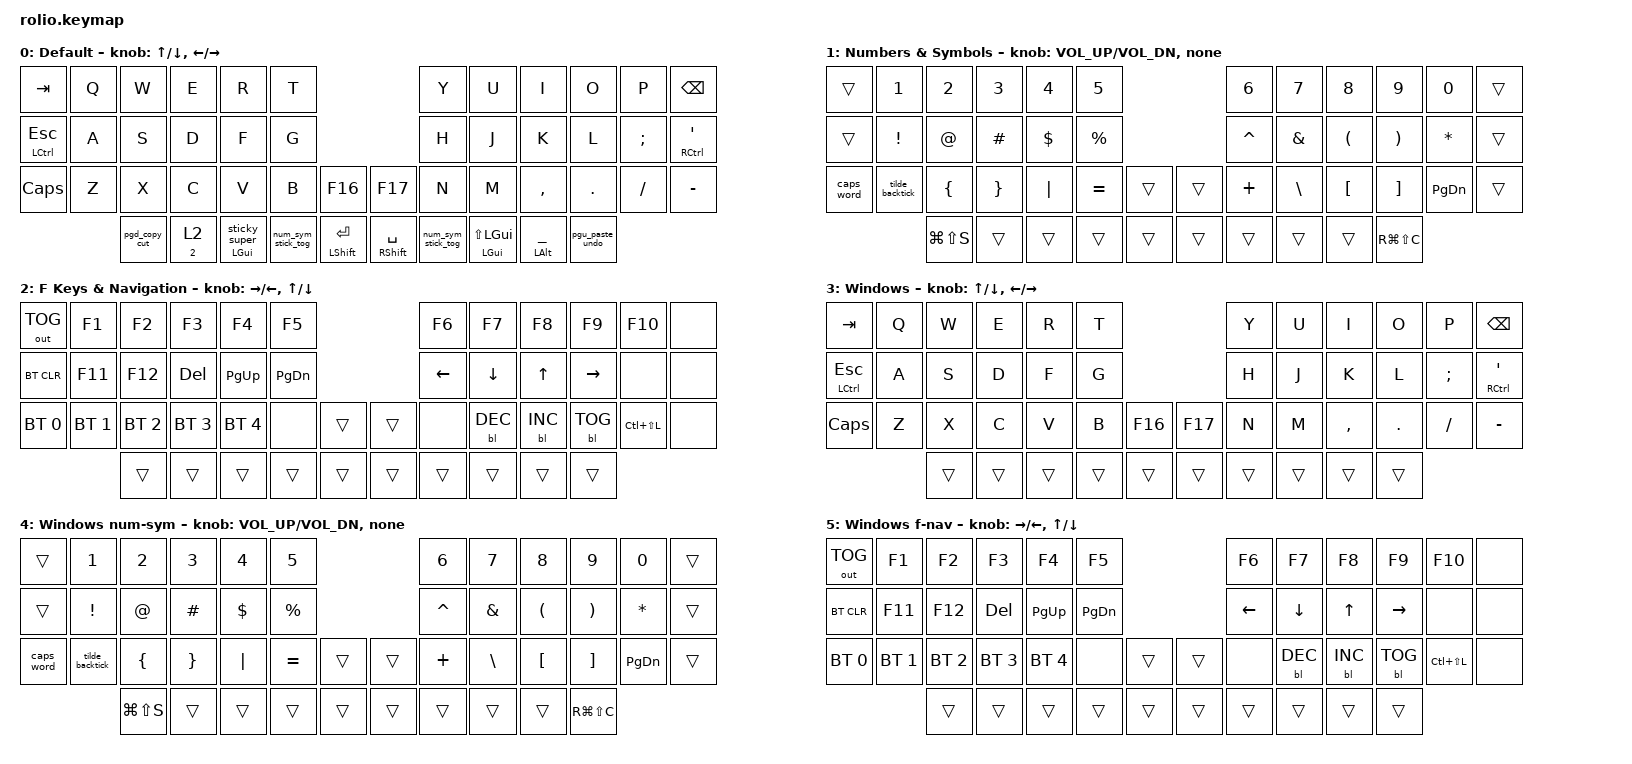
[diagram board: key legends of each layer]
/*
 * Copyright (c) 2020 The ZMK Contributors
 *
 * SPDX-License-Identifier: MIT
 */

#include <behaviors.dtsi>
#include <dt-bindings/zmk/backlight.h>
#include <dt-bindings/zmk/bt.h>
#include <dt-bindings/zmk/keys.h>
#include <dt-bindings/zmk/outputs.h>

// #define HOST_OS 1  // set to 1 for Linux, default is 0 (Windows)
// #include helper.h

#define DEFAULT   0
#define NUM_SYM   1
#define F_NAV     2

// ZMK_UNICODE_SINGLE(em_dash, N2, N0, N1, N4)
// ZMK_UNICODE_SINGLE(en_dash, N2, N0, N1, N3)

/ {
    conditional_layers {
        compatible = "zmk,conditional-layers";

        win-layers {
            if-layers = <3>;
            then-layer = <4>;
        };

        win_nav_f {
            if-layers = <3 4>;
            then-layer = <5>;
        };
    };

    behaviors {
        num_sym_hold_tap: num_sym_hold_tap {
            compatible = "zmk,behavior-hold-tap";
            label = "NUM_SYM_HOLD_TAP";
            bindings = <&tap_layer_num>, <&tap_layer_num>;

            #binding-cells = <2>;
            tapping-term-ms = <200>;
        };

        fnav_hold_tap: fnav_hold_tap {
            compatible = "zmk,behavior-hold-tap";
            label = "FNAV_HOLD_TAP";
            bindings = <&tap_fnav_layer>, <&tap_fnav_layer>;

            #binding-cells = <2>;
            tapping-term-ms = <200>;
        };

        tilde_backtick: tilde_backtick {
            compatible = "zmk,behavior-mod-morph";
            label = "TILDE_BACKTICK";
            bindings = <&kp TILDE>, <&kp GRAVE>;

            #binding-cells = <0>;
            mods = <(MOD_LSFT|MOD_RSFT)>;
        };

        lsft_super: lsft_super {
            compatible = "zmk,behavior-hold-tap";
            label = "LSFT_SUPER";
            bindings = <&kp>, <&l_shift_super>;

            #binding-cells = <2>;
            tapping-term-ms = <200>;
        };

        rsft_super: rsft_super {
            compatible = "zmk,behavior-hold-tap";
            label = "RSFT_SUPER";
            bindings = <&kp>, <&r_shift_super>;

            #binding-cells = <2>;
            tapping-term-ms = <200>;
        };

        l_super_sft_ctrl: l_super_sft_ctrl {
            compatible = "zmk,behavior-hold-tap";
            label = "L_SUPER_SFT_CTRL";
            bindings = <&l_sup_sft_ctr>, <&kp>;

            #binding-cells = <2>;
            tapping-term-ms = <200>;
        };

        r_super_sft_ctrl: r_super_sft_ctrl {
            compatible = "zmk,behavior-hold-tap";
            label = "R_SUPER_SFT_CTRL";
            bindings = <&r_sup_sft_ctr>, <&kp>;

            #binding-cells = <2>;
            tapping-term-ms = <200>;
        };

        layer_key: layer_key {
            compatible = "zmk,behavior-hold-tap";
            label = "LAYER_KEY";
            bindings = <&lt>, <&tog>;

            #binding-cells = <2>;
            tapping-term-ms = <200>;
        };

        super_sup: super_sup {
            compatible = "zmk,behavior-tap-dance";
            label = "SUPER_SUP";
            #binding-cells = <0>;
            bindings = <&sk LGUI>, <&sk LS(LGUI)>, <&sk LS(LC(LGUI))>;
        };

        pgd_copy_cut: pgd_copy_cut {
            compatible = "zmk,behavior-tap-dance";
            label = "PGD_COPY_CUT";
            #binding-cells = <0>;
            bindings = <&kp PG_DN>, <&kp LC(C)>, <&kp LC(X)>;
        };

        pgu_paste_undo: pgu_paste_undo {
            compatible = "zmk,behavior-tap-dance";
            label = "PGU_PASTE_UNDO";
            #binding-cells = <0>;
            bindings = <&kp PG_UP>, <&kp LC(V)>, <&kp LC(Z)>;
        };

        num_sym_stick_tog: num_sym_stick_tog {
            compatible = "zmk,behavior-tap-dance";
            label = "NUM_SYM_STICK_TOG";
            #binding-cells = <0>;
            bindings = <&sl 1>, <&tog 1>;
        };

        fnav_stick_tog: fnav_stick_tog {
            compatible = "zmk,behavior-tap-dance";
            label = "FNAV_STICK_TOG";
            #binding-cells = <0>;
            bindings = <&sl 2>, <&tog 2>;
        };

        final_super: final_super {
            compatible = "zmk,behavior-hold-tap";
            label = "FINAL_SUPER";
            bindings = <&kp>, <&sticky_super>;

            #binding-cells = <2>;
            tapping-term-ms = <200>;
        };
    };

    macros {
        tap_layer_num: tap_layer_num {
            compatible = "zmk,behavior-macro";
            #binding-cells = <0>;
            bindings = <&tog 1>;
            label = "TAP_LAYER_NUM";
        };

        tap_fnav_layer: tap_fnav_layer {
            compatible = "zmk,behavior-macro";
            #binding-cells = <0>;
            bindings = <&tog 2>;
            label = "TAP_FNAV_LAYER";
        };

        l_shift_super: shift_super {
            compatible = "zmk,behavior-macro";
            #binding-cells = <0>;
            bindings = <&sk LEFT_SHIFT &sk LGUI>;
            label = "SHIFT_SUPER";
        };

        r_shift_super: r_shift_super {
            compatible = "zmk,behavior-macro";
            #binding-cells = <0>;
            bindings = <&sk RIGHT_SHIFT &sk RGUI>;
            label = "R_SHIFT_SUPER";
        };

        l_sup_sft_ctr: sup_sft_ctr {
            compatible = "zmk,behavior-macro";
            #binding-cells = <0>;
            bindings = <&sk LGUI &sk LSHIFT &kp LEFT_CONTROL>;
            label = "SUP_SFT_CTR";
        };

        r_sup_sft_ctr: r_sup_sft_ctr {
            compatible = "zmk,behavior-macro";
            #binding-cells = <0>;
            bindings = <&sk RGUI &sk RIGHT_SHIFT &sk RIGHT_CONTROL>;
            label = "R_SUP_SFT_CTR";
        };

        sticky_super: sticky_super {
            compatible = "zmk,behavior-macro";
            #binding-cells = <0>;
            bindings = <&sl 1 &sk LGUI>;
            label = "STICKY_SUPER";
        };
    };

    combos {
        compatible = "zmk,combos";

        Backtick {
            bindings = <&kp GRAVE>;
            key-positions = <24 25>;
        };
    };

    keymap {
        compatible = "zmk,keymap";

        default {
            label = "Default";
            sensor-bindings = <&inc_dec_kp UP DOWN &inc_dec_kp LEFT RIGHT>;
            bindings = <
&kp TAB                  &kp Q  &kp W          &kp E           &kp R                &kp T                                                   &kp Y               &kp U              &kp I                    &kp O            &kp P     &kp BACKSPACE
&mt LEFT_CONTROL ESCAPE  &kp A  &kp S          &kp D           &kp F                &kp G                                                   &kp H               &kp J              &kp K                    &kp L            &kp SEMI  &mt RIGHT_CONTROL SQT
&kp CAPS                 &kp Z  &kp X          &kp C           &kp V                &kp B               &kp F16           &kp F17           &kp N               &kp M              &kp COMMA                &kp DOT          &kp FSLH  &kp MINUS
                                &pgd_copy_cut  &layer_key 2 2  &final_super LGUI 0  &num_sym_stick_tog  &mt LSHIFT ENTER  &mt RSHIFT SPACE  &num_sym_stick_tog  &mt LGUI LS(LGUI)  &mt LEFT_ALT UNDERSCORE  &pgu_paste_undo
            >;
        };

        num_sym {
            label = "Numbers & Symbols";
            sensor-bindings = <&inc_dec_kp C_VOL_UP C_VOL_DN>, <&none>;

            bindings = <
&trans      &kp NUMBER_1     &kp NUMBER_2    &kp NUMBER_3     &kp NUMBER_4  &kp NUMBER_5                  &kp NUMBER_6  &kp NUMBER_7   &kp NUMBER_8          &kp NUMBER_9           &kp NUMBER_0  &trans
&trans      &kp EXCLAMATION  &kp AT_SIGN     &kp HASH         &kp DOLLAR    &kp PERCENT                   &kp CARET     &kp AMPERSAND  &kp LEFT_PARENTHESIS  &kp RIGHT_PARENTHESIS  &kp ASTERISK  &trans
&caps_word  &tilde_backtick  &kp LEFT_BRACE  &kp RIGHT_BRACE  &kp PIPE      &kp EQUAL     &trans  &trans  &kp PLUS      &kp BACKSLASH  &kp LEFT_BRACKET      &kp RIGHT_BRACKET      &kp PG_DN     &trans
                             &kp LG(LS(S))   &trans           &trans        &trans        &trans  &trans  &trans        &trans         &trans                &kp RG(LS(C))
            >;
        };

        f_nav {
            label = "F Keys & Navigation";
            sensor-bindings =
                <&inc_dec_kp RIGHT_ARROW LEFT>,
                <&inc_dec_kp UP_ARROW DOWN_ARROW>;

            bindings = <
&out OUT_TOG  &kp F1        &kp F2        &kp F3        &kp F4        &kp F5                         &kp F6    &kp F7      &kp F8      &kp F9      &kp F10        &none
&bt BT_CLR    &kp F11       &kp F12       &kp DEL       &kp PAGE_UP   &kp PAGE_DOWN                  &kp LEFT  &kp DOWN    &kp UP      &kp RIGHT   &none          &none
&bt BT_SEL 0  &bt BT_SEL 1  &bt BT_SEL 2  &bt BT_SEL 3  &bt BT_SEL 4  &none          &trans  &trans  &none     &bl BL_DEC  &bl BL_INC  &bl BL_TOG  &kp LC(LS(L))  &none
                            &trans        &trans        &trans        &trans         &trans  &trans  &trans    &trans      &trans      &trans
            >;
        };

        win {
            label = "Windows";
            bindings = <
&kp TAB                  &kp Q  &kp W   &kp E   &kp R   &kp T                     &kp Y   &kp U   &kp I      &kp O    &kp P     &kp BACKSPACE
&mt LEFT_CONTROL ESCAPE  &kp A  &kp S   &kp D   &kp F   &kp G                     &kp H   &kp J   &kp K      &kp L    &kp SEMI  &mt RIGHT_CONTROL SQT
&kp CAPS                 &kp Z  &kp X   &kp C   &kp V   &kp B   &kp F16  &kp F17  &kp N   &kp M   &kp COMMA  &kp DOT  &kp FSLH  &kp MINUS
                                &trans  &trans  &trans  &trans  &trans   &trans   &trans  &trans  &trans     &trans
            >;

            sensor-bindings = <&inc_dec_kp UP DOWN>, <&inc_dec_kp LEFT RIGHT>;
        };

        win-num {
            label = "Windows num-sym";
            bindings = <
&trans      &kp NUMBER_1     &kp NUMBER_2    &kp NUMBER_3     &kp NUMBER_4  &kp NUMBER_5                  &kp NUMBER_6  &kp NUMBER_7   &kp NUMBER_8          &kp NUMBER_9           &kp NUMBER_0  &trans
&trans      &kp EXCLAMATION  &kp AT_SIGN     &kp HASH         &kp DOLLAR    &kp PERCENT                   &kp CARET     &kp AMPERSAND  &kp LEFT_PARENTHESIS  &kp RIGHT_PARENTHESIS  &kp ASTERISK  &trans
&caps_word  &tilde_backtick  &kp LEFT_BRACE  &kp RIGHT_BRACE  &kp PIPE      &kp EQUAL     &trans  &trans  &kp PLUS      &kp BACKSLASH  &kp LEFT_BRACKET      &kp RIGHT_BRACKET      &kp PG_DN     &trans
                             &kp LG(LS(S))   &trans           &trans        &trans        &trans  &trans  &trans        &trans         &trans                &kp RG(LS(C))
            >;

            sensor-bindings = <&inc_dec_kp C_VOL_UP C_VOL_DN>, <&none>;
        };

        WIN-NAV {
            label = "Windows f-nav";
            bindings = <
&out OUT_TOG  &kp F1        &kp F2        &kp F3        &kp F4        &kp F5                         &kp F6    &kp F7      &kp F8      &kp F9      &kp F10        &none
&bt BT_CLR    &kp F11       &kp F12       &kp DEL       &kp PAGE_UP   &kp PAGE_DOWN                  &kp LEFT  &kp DOWN    &kp UP      &kp RIGHT   &none          &none
&bt BT_SEL 0  &bt BT_SEL 1  &bt BT_SEL 2  &bt BT_SEL 3  &bt BT_SEL 4  &none          &trans  &trans  &none     &bl BL_DEC  &bl BL_INC  &bl BL_TOG  &kp LC(LS(L))  &none
                            &trans        &trans        &trans        &trans         &trans  &trans  &trans    &trans      &trans      &trans
            >;

            sensor-bindings =
                <&inc_dec_kp RIGHT_ARROW LEFT>,
                <&inc_dec_kp UP_ARROW DOWN_ARROW>;
        };
    };
};
